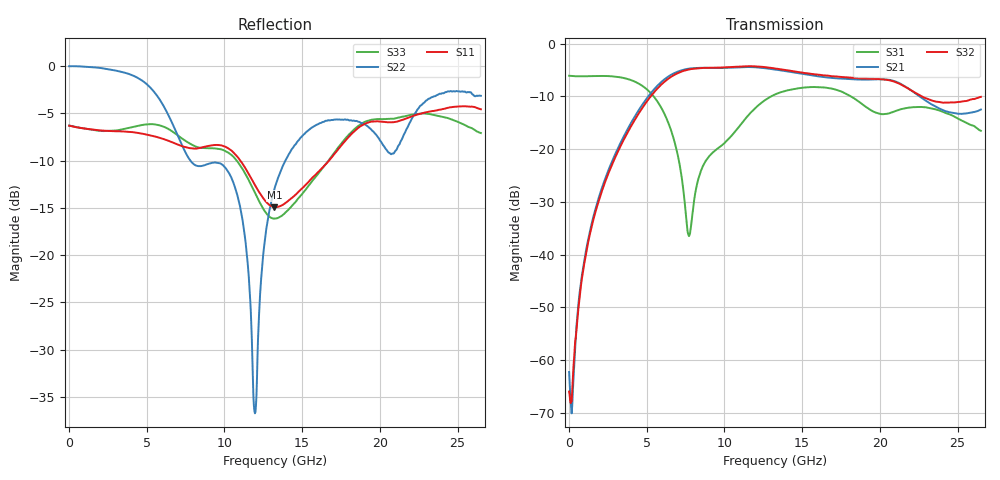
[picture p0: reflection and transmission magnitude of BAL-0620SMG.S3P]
! MARKI MICROWAVE INC.
! Email:  support@markimicrowave.com  Phone:  408-778-4200
! Model Number:  BAL-0620SMG  Date:  10/14
! Filename:		BAL-0620SMG.S3P  Version: 1.0
! Description:  3-port S-parameter data for Balun BAL-0620SMG
! Frequency Range: 	10 MHz to 26.5 GHz
! Port Configuration:	PORT 1: OUTPUT (0 DEGREE), PORT 2: OUTPUT (180 DEGREE), PORT 3: COMMON
! S3P File: Measurements: Mag<S11> Ang<S11> Mag<S12> Ang<S12> Mag<S13> Ang<S13>! row 1
!  Mag<S21> Ang<S21> Mag<S22> Ang<S22> Mag<S23> Ang<S23>! row 2
!  Mag<S31> Ang<S31> Mag<S32> Ang<S32> Mag<S33> Ang<S33>! row 3
# Hz S  dB  R 50
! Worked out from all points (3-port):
!   801 points, 10 MHz to 26.5 GHz, reference 50 ohm
!   strongest paths, dB at 10 MHz, 6.633 GHz, 13.26 GHz, 19.88 GHz, 26.5 GHz:
!     S32: -66.0, -6.2, -4.7, -6.7, -10.1
!     S21: -62.3, -5.8, -4.9, -6.8, -12.5
!     S31: -6.1, -17.0, -9.6, -13.2, -16.5
!   lowest |S11| = -14.9 dB at 13.22 GHz (marker M1), VSWR 1.44, Z = 54.1 - j18.5 ohm
!   |S11| at or under -10 dB: 11.03 GHz to 16.73 GHz (5.696 GHz wide, 41 % of centre)
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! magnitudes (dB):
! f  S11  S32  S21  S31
! 10 MHz  -6.3  -66.0  -62.3  -6.1
! 1.301 GHz  -6.7  -36.7  -36.2  -6.2
! 4.182 GHz  -7.0  -14.7  -14.1  -7.1
! 6.467 GHz  -7.9  -6.5  -6.1  -15.6
! 7.725 GHz  -8.7  -4.9  -4.7  -36.5
! 10.84 GHz  -9.6  -4.4  -4.5  -16.1
! 11.96 GHz  -12.6  -4.3  -4.5  -12.3
! 13.22 GHz  -14.9  -4.7  -4.9  -9.7
! 13.26 GHz  -14.9  -4.7  -4.9  -9.6
! 26.5 GHz  -4.6  -10.1  -12.5  -16.5
